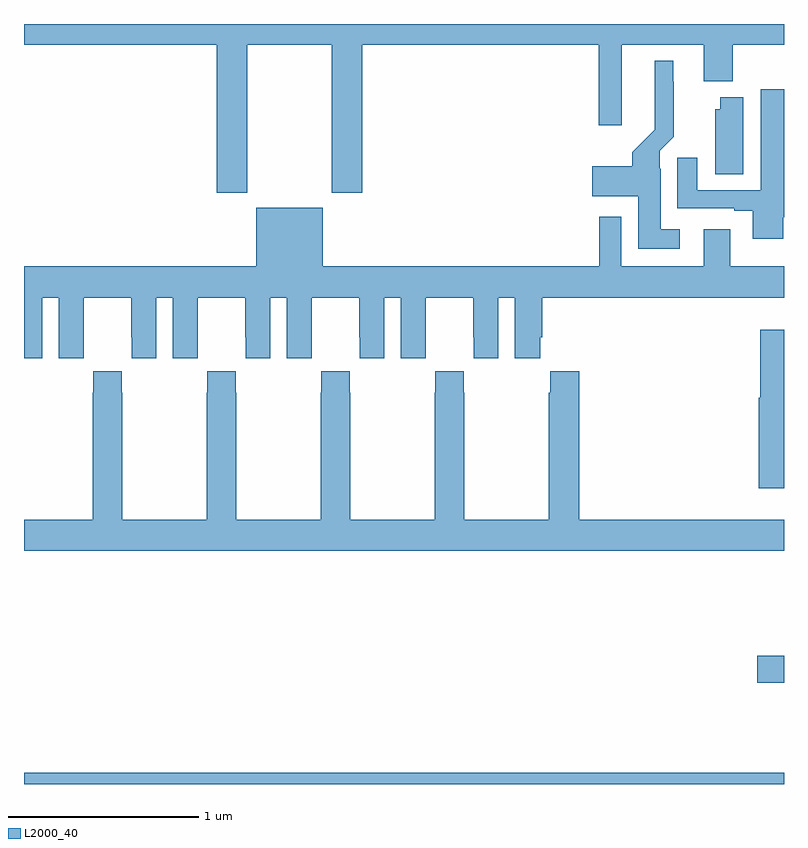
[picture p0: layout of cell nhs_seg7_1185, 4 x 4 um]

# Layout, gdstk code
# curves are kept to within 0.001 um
import gdstk
lib = gdstk.Library(unit=1e-6, precision=1e-09)
def R(c, l, rs):  # rectangles x0, y0, x1, y1
    for r in rs: c.add(gdstk.rectangle(r[:2], r[2:], *l))
def P(c, l, *ps):  # polygons
    for p in ps: c.add(gdstk.Polygon(p, *l))
L2000_40 = (2000, 40)

nhs_seg7_1185 = lib.new_cell('nhs_seg7_1185')
R(nhs_seg7_1185, L2000_40, [(193,1054,197,1054.06), (196.86,1054.534,197,1054.676)])
P(nhs_seg7_1185, L2000_40, [(194.175,1057.892),(194.62,1057.892),(194.62,1057.113),(194.78,1057.113),(194.78,1057.892),(196.025,1057.892),(196.025,1057.467),(196.147,1057.467),(196.147,1057.892),(196.577,1057.892),(196.577,1057.7),(196.73,1057.7),(196.73,1057.892),(197,1057.892),(197,1058),(193,1058),(193,1057.892),(194.015,1057.892),(194.015,1057.113),(194.175,1057.113)],
  [(196.45,1056.919),(196.351,1056.919),(196.351,1057.238),(196.347,1057.238),(196.347,1057.332),(196.421,1057.406),(196.421,1057.697),(196.417,1057.697),(196.417,1057.807),(196.319,1057.807),(196.32,1057.444),(196.202,1057.326),(196.202,1057.252),(195.99,1057.252),(195.99,1057.094),(196.232,1057.094),(196.232,1056.818),(196.45,1056.818)],
  [(196.996,1056.982),(197,1056.982),(197,1057.657),(196.877,1057.657),(196.877,1057.125),(196.543,1057.125),(196.543,1057.297),(196.439,1057.297),(196.439,1057.029),(196.739,1057.029),(196.739,1057.017),(196.835,1057.017),(196.835,1056.87),(196.996,1056.87)],
  [(196.786,1057.615),(196.664,1057.615),(196.664,1057.551),(196.637,1057.551),(196.637,1057.21),(196.786,1057.21)],
  [(194.222,1056.724),(193,1056.724),(193,1056.24),(193.096,1056.24),(193.096,1056.56),(193.184,1056.56),(193.184,1056.24),(193.314,1056.24),(193.314,1056.352),(193.315,1056.352),(193.315,1056.56),(193.565,1056.56),(193.565,1056.352),(193.566,1056.352),(193.566,1056.24),(193.696,1056.24),(193.696,1056.56),(193.784,1056.56),(193.784,1056.24),(193.914,1056.24),(193.914,1056.352),(193.915,1056.352),(193.915,1056.56),(194.165,1056.56),(194.165,1056.352),(194.166,1056.352),(194.166,1056.24),(194.296,1056.24),(194.296,1056.56),(194.384,1056.56),(194.384,1056.24),(194.514,1056.24),(194.514,1056.352),(194.515,1056.352),(194.515,1056.56),(194.765,1056.56),(194.765,1056.352),(194.766,1056.352),(194.766,1056.24),(194.896,1056.24),(194.896,1056.56),(194.984,1056.56),(194.984,1056.24),(195.114,1056.24),(195.114,1056.352),(195.115,1056.352),(195.115,1056.56),(195.365,1056.56),(195.365,1056.352),(195.366,1056.352),(195.366,1056.24),(195.496,1056.24),(195.496,1056.56),(195.584,1056.56),(195.584,1056.24),(195.718,1056.24),(195.718,1056.352),(195.728,1056.352),(195.728,1056.56),(197,1056.56),(197,1056.724),(196.717,1056.724),(196.717,1056.919),(196.577,1056.919),(196.577,1056.724),(196.143,1056.724),(196.143,1056.985),(196.027,1056.985),(196.027,1056.724),(194.572,1056.724),(194.572,1057.033),(194.222,1057.033)],
  [(197,1056.391),(196.874,1056.391),(196.874,1056.033),(196.868,1056.033),(196.868,1055.556),(197,1055.556)],
  [(197,1055.392),(195.923,1055.392),(195.923,1056.172),(195.769,1056.172),(195.769,1056.059),(195.763,1056.059),(195.763,1055.392),(195.318,1055.392),(195.318,1056.059),(195.315,1056.059),(195.315,1056.172),(195.165,1056.172),(195.165,1056.059),(195.163,1056.059),(195.163,1055.392),(194.718,1055.392),(194.718,1056.059),(194.715,1056.059),(194.715,1056.172),(194.565,1056.172),(194.565,1056.059),(194.563,1056.059),(194.563,1055.392),(194.118,1055.392),(194.118,1056.059),(194.115,1056.059),(194.115,1056.172),(193.965,1056.172),(193.965,1056.059),(193.963,1056.059),(193.963,1055.392),(193.518,1055.392),(193.518,1056.059),(193.515,1056.059),(193.515,1056.172),(193.365,1056.172),(193.365,1056.059),(193.363,1056.059),(193.363,1055.392),(193,1055.392),(193,1055.228),(197,1055.228)])

lib.write_gds('nhs_seg7_1185.gds')
